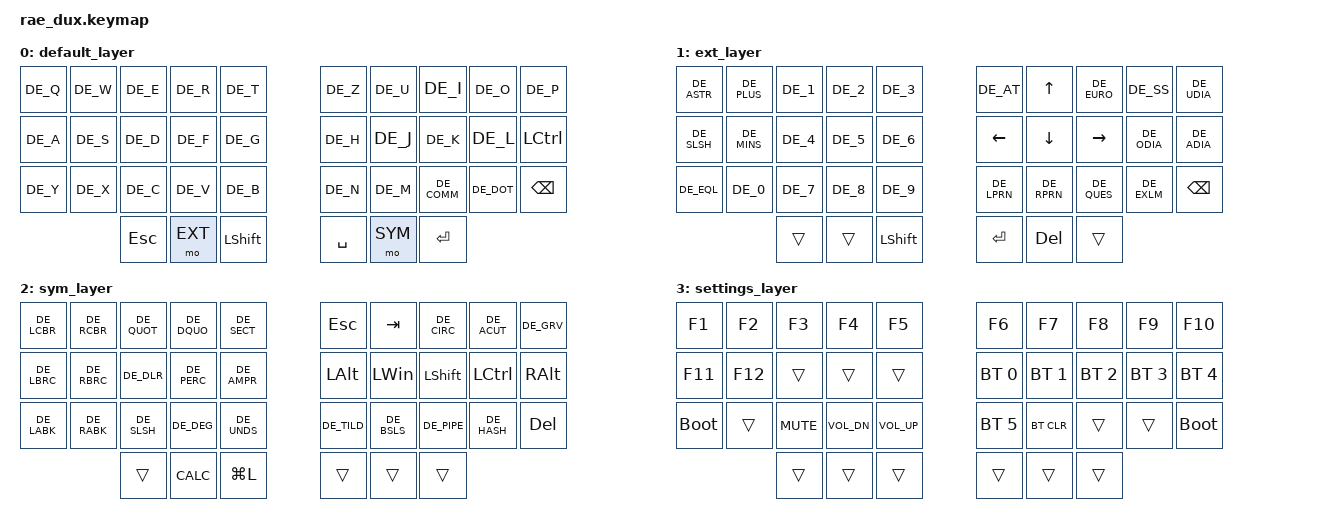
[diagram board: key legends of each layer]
/*
 * Copyright (c) 2021 The ZMK Contributors
 *
 * SPDX-License-Identifier: MIT
 */

#include <behaviors.dtsi>
#include <dt-bindings/zmk/bt.h>
#include <dt-bindings/zmk/keys.h>
#include "german.keycodes"

&sk {
    release-after-ms = <750>;
    quick-release;
};

&caps_word {
    continue-list = <UNDERSCORE MINUS BSPC>;
};

// Layer definitions
#define BASE 0
 #define EXT 1
#define SYM 2
#define SETTINGS 3

#define MY_PSCRN LS(LC(PSCRN))
#define MY_COPY LC(INSERT)
#define MY_PASTE LS(INSERT)
#define VI_U LC(Z)
#define VI_W LC(RIGHT)
#define VI_B LC(LEFT)

/ {
    combos {
        compatible = "zmk,combos";

    // shortcut
    #define COMBO(NAME, BINDINGS, KEYPOS, TIMEOUT) \
          combo_##NAME { \
            timeout-ms = <TIMEOUT>; \
            bindings = <BINDINGS>; \
            key-positions = <KEYPOS>; \
          };

        /*                KEY POSITIONS

          ╭────────────────────╮ ╭────────────────────╮
          │  0   1   2   3   4 │ │  5   6   7   8   9 │
          │ 10  11  12  13  14 │ │ 15  16  17  18  19 │
          │ 20  21  22  23  24 │ │ 25  26  27  28  29 │
          ╰───────╮ 30  31  32 │ │ 33  34  35 ╭───────╯
                  ╰────────────╯ ╰────────────╯        */

        COMBO(caps_word_right, &caps_word, 26 27, 60)
        COMBO(caps_word_left, &caps_word, 22 23, 60)
	COMBO(setting, &mo SETTINGS, 30 31, 60)
    };

    behaviors {
        lhm: left_hand_positional_hold_tap {
            compatible = "zmk,behavior-hold-tap";
            label = "LEFT_POSITIONAL_HOLD_TAP";
            #binding-cells = <2>;
            flavor = "tap-preferred";
            tapping-term-ms = <200>;
            quick-tap-ms = <125>;
            global-quick-tap;
            bindings = <&kp>, <&kp>;
            // hold-trigger-key-positions = <5 6 7 8 9 15 16 17 18 19 25 26 27 28 29 >;
            hold-trigger-key-positions = <5 6 7 8 9 10 11 12 13 15 16 17 18 19 25 26 27 28 29 >;
        };

        rhm: right_hand_positional_hold_tap {
            compatible = "zmk,behavior-hold-tap";
            label = "RIGHT_POSITIONAL_HOLD_TAP";
            #binding-cells = <2>;
            flavor = "tap-preferred";
            tapping-term-ms = <200>;
            quick-tap-ms = <125>;
            global-quick-tap;
            bindings = <&kp>, <&kp>;
            // hold-trigger-key-positions = <0 1 2 3 4 10 11 12 13 14 20 21 22 23 24 >;
            hold-trigger-key-positions = <0 1 2 3 4 10 11 12 13 14 16 17 18 19 20 21 22 23 24 >;
        };

        base_lt: base_layer_hold_tap {
            compatible = "zmk,behavior-hold-tap";
            label = "BASE_LAYER_HOLD_TAP";
            #binding-cells = <2>;
            flavor = "tap-preferred";
            tapping-term-ms = <200>;
            quick-tap-ms = <50>;
            global-quick-tap;
            bindings = <&mo>, <&kp>;
        };

    };

	keymap {
		compatible = "zmk,keymap";

        // Base alpha layer
       		default_layer {
		bindings = <
		&kp DE_Q &kp DE_W &kp DE_E &kp DE_R &kp DE_T 						&kp DE_Z &kp DE_U  &kp DE_I    &kp DE_O   &kp DE_P 
		&kp DE_A &kp DE_S &kp DE_D &kp DE_F &kp DE_G 			        	        &kp DE_H &kp DE_J &kp DE_K &kp DE_L &kp LCTRL
		&kp DE_Y &kp DE_X &kp DE_C &kp DE_V &kp DE_B				      		&kp DE_N &kp DE_M  &kp DE_COMM &kp DE_DOT &kp BSPC
          			&kp ESC &mo EXT &kp LSHIFT  						&kp SPC &mo SYM &kp RET
		>;
		};

 	// Main modifiers and arrow keys
       		ext_layer {
		bindings = <
		&kp DE_ASTR  	&kp DE_PLUS    &kp DE_1    &kp DE_2    &kp DE_3			&kp DE_AT &kp UP &kp DE_EURO &kp DE_SS &kp DE_UDIA 
		&kp DE_SLSH    &kp DE_MINS    &kp DE_4      &kp DE_5     &kp DE_6 		&kp LEFT &kp DOWN  &kp RIGHT &kp DE_ODIA  &kp DE_ADIA 
		&kp DE_EQL    &kp DE_0 		&kp DE_7  &kp DE_8  &kp DE_9 			&kp DE_LPRN &kp DE_RPRN &kp DE_QUES &kp DE_EXLM  &kp BSPC 
					&trans &trans  &kp LSHIFT  					&kp RET &kp DEL &trans
		>;
		};
		
        // High frequency symbols
		sym_layer {
		bindings = <
		&kp DE_LCBR  &kp DE_RCBR &kp DE_QUOT  &kp DE_DQUO  &kp DE_SECT    			&kp ESC  &kp TAB &kp DE_CIRC &kp DE_ACUT &kp DE_GRV 
		&kp DE_LBRC  &kp DE_RBRC  &kp DE_DLR  &kp DE_PERC  &kp DE_AMPR 				&kp LALT &kp LWIN  &kp LSHFT  &kp LCTRL   &kp RALT
		&kp DE_LABK  &kp DE_RABK  &kp DE_SLSH  &kp DE_DEG   &kp DE_UNDS    			&kp DE_TILD  &kp DE_BSLS  &kp DE_PIPE  &kp DE_HASH   &kp DEL
						 &trans &kp K_CALC &kp LG(L)  				&trans  &trans &trans
		>;
		};	
		
	// Used to change the keyboard's settings.
		settings_layer {
		bindings = <
		&kp F1  &kp F2    &kp F3    &kp F4    &kp F5 				&kp F6	 &kp F7   &kp F8   &kp F9  &kp F10
		&kp F11 &kp F12 &trans &trans &trans  					&bt BT_SEL 0 &bt BT_SEL 1  &bt BT_SEL 2 &bt BT_SEL 3 &bt BT_SEL 4 
		&bootloader  &trans &kp K_MUTE &kp K_VOL_DN &kp K_VOL_UP   		&bt BT_SEL 5 &bt BT_CLR  &trans  &trans &bootloader   
				 &trans &trans &trans					&trans &trans &trans
		>;
		};
	};
};
